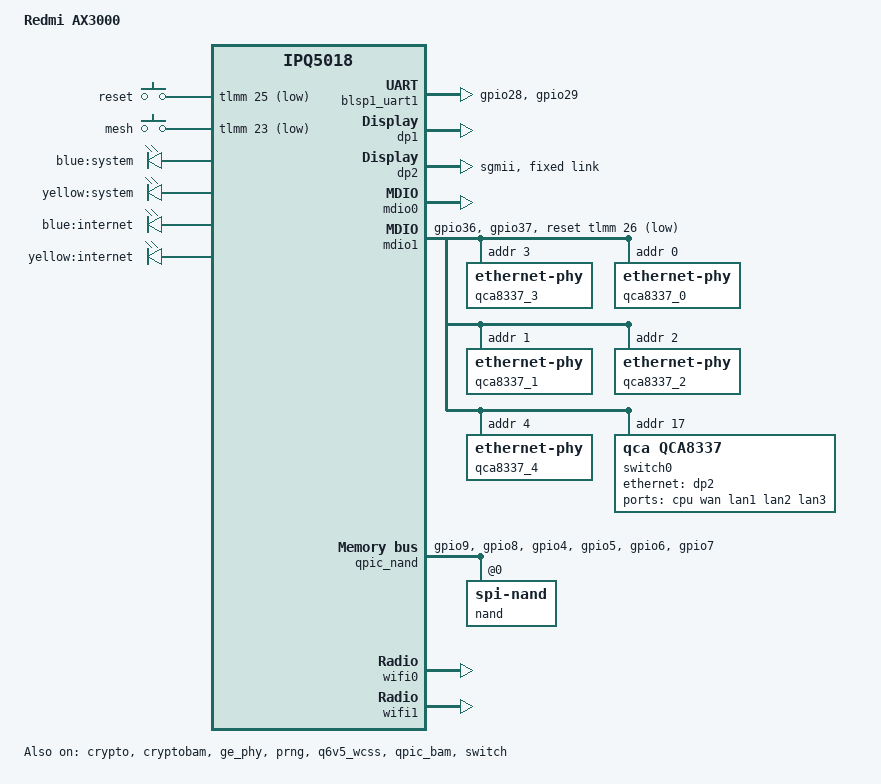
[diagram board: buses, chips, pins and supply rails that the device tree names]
// SPDX-License-Identifier: (GPL-2.0+)

/dts-v1/;
#include "ipq5018.dtsi"
#include "ipq5018-ess.dtsi"
#include <dt-bindings/gpio/gpio.h>
#include <dt-bindings/input/input.h>

/ {
	#address-cells = <0x2>;
	#size-cells = <0x2>;
	model = "Redmi AX3000";
	compatible = "redmi,ax3000", "qcom,ipq5018";
	interrupt-parent = <&intc>;

	aliases {
		ethernet0 = &dp1;
		ethernet1 = &dp2;
		label-mac-device = &dp2;
		serial0 = &blsp1_uart1;
		led-boot = &led_system_blue;
		led-failsafe = &led_system_yellow;
		led-running = &led_system_blue;
		led-upgrade = &led_system_yellow;
	};

	chosen {
		stdout-path = "serial0:115200n8";
		bootargs-append = " root=/dev/ubiblock0_1 coherent_pool=2M";
	};

	keys {
		compatible = "gpio-keys";
		pinctrl-0 = <&button_pins>;
		pinctrl-names = "default";

		button_reset {
			label = "reset";
			gpios = <&tlmm 25 GPIO_ACTIVE_LOW>;
			linux,input-type = <EV_KEY>;
			linux,code = <KEY_RESTART>;
			debounce-interval = <60>;
		};

		button_mesh {
			label = "mesh";
			gpios = <&tlmm 23 GPIO_ACTIVE_LOW>;
			linux,input-type = <EV_KEY>;
			linux,code = <KEY_WPS_BUTTON>;
			debounce-interval = <60>;
		};
	};

	leds {
		compatible = "gpio-leds";
		pinctrl-0 = <&leds_pins>;
		pinctrl-names = "default";

		led_system_blue: led_system_blue {
			label = "blue:system";
			gpio = <&tlmm 19 GPIO_ACTIVE_HIGH>;
			default-state = "on";
		};

		led_system_yellow: led_system_yellow {
			label = "yellow:system";
			gpio = <&tlmm 17 GPIO_ACTIVE_HIGH>;
		};

		led_internet_blue: led_internet_blue {
			label = "blue:internet";
			gpio = <&tlmm 22 GPIO_ACTIVE_HIGH>;
		};

		led_internet_yellow: led_internet_yellow {
			label = "yellow:internet";
			gpio = <&tlmm 20 GPIO_ACTIVE_HIGH>;
		};
	};

	reserved-memory {
		tz_appps@4a400000 {
			no-map;
			reg = <0x0 0x4a400000 0x0 0x400000>;
		};

		q6_mem_regions: q6_mem_regions@4b000000 {
			no-map;
			reg = <0x0 0x4b000000 0x0 0x3000000>;
		};
	};
};

&sleep_clk {
	clock-frequency = <32000>;
};

&xo_board_clk {
	clock-frequency = <24000000>;
};

&blsp1_uart1 {
	pinctrl-0 = <&blsp0_uart_pins>;
	pinctrl-names = "default";
	status = "okay";
};

&crypto {
	status = "okay";
};

&cryptobam {
	status = "okay";
};

&dp1 {
	status = "okay";
};

&dp2 {
	phy-mode = "sgmii";
	status = "okay";

	fixed-link {
		speed = <1000>;
		full-duplex;
	};
};

&ge_phy {
	status = "okay";
};

&mdio0 {
	status = "okay";
    resets = <&gcc GCC_GEPHY_MDC_SW_ARES>;
    reset-names = "phy";
};

&mdio1 {
	pinctrl-0 = <&mdio1_pins>;
	pinctrl-names = "default";
	reset-gpios = <&tlmm 26 GPIO_ACTIVE_LOW>;
	status = "okay";

	// QCA8337 Phy3 -> WAN
	qca8337_3: ethernet-phy@3 {
		reg = <3>;
	};
	// QCA8337 Phy0 -> LAN1
	qca8337_0: ethernet-phy@0 {
		reg = <0>;
	};
	// QCA8337 Phy1 -> LAN2
	qca8337_1: ethernet-phy@1 {
		reg = <1>;
	};
	// QCA8337 Phy2 -> LAN3
	qca8337_2: ethernet-phy@2 {
		reg = <2>;
	};
    // QCA8337 Phy4 -> IPQ5018 GE Phy
	qca8337_4: ethernet-phy@4 {
		reg = <4>;
	};

	// QCA8337 switch
	switch0: ethernet-switch@17 {
		compatible = "qca,qca8337";
		reg = <17>;
		#address-cells = <1>;
		#size-cells = <0>;
		switch_cpu_bmp = <0x60>;  // CPU port bitmap: 5 6
		switch_lan_bmp = <0x0e>;  // LAN port bitmap: 1 2 3
		switch_wan_bmp = <0x10>;  // WAN port bitmap: 4

		ports {
			#address-cells = <1>;
			#size-cells = <0>;

			switch0cpu: port@0 {
				reg = <0>;
				label = "cpu";
				phy-mode = "sgmii";
				ethernet = <&dp2>;
				qca,sgmii-enable-pll;
				fixed-link {
					speed = <1000>;
					full-duplex;
				};
			};
			// QCA8337 Phy3 -> WAN
			port@4 {
				reg = <4>;
				label = "wan";
				phy-handle = <&qca8337_3>;
				port_id = <4>;
				phy_address = <3>;
			};

			// QCA8337 Phy0 -> LAN1
			port@1 {
				reg = <1>;
				label = "lan1";
				phy-handle = <&qca8337_0>;
				port_id = <1>;
				phy_address = <0>;
			};
			// QCA8337 Phy1 -> LAN2
			port@2 {
				reg = <2>;
				label = "lan2";
				phy-handle = <&qca8337_1>;
				port_id = <2>;
				phy_address = <1>;
			};
			// QCA8337 Phy2 -> LAN3
			port@3 {
				reg = <3>;
				label = "lan3";
				phy-handle = <&qca8337_2>;
				port_id = <3>;
				phy_address = <2>;
			};
		};
	};
};

&prng {
	status = "okay";
};

&q6v5_wcss {
	status = "okay";
	memory-region = <&q6_mem_regions>;
	firmware-name = "ath11k/IPQ5018/hw1.0/q6_fw.mdt",
					"ath11k/IPQ5018/hw1.0/m3_fw.mdt",
					"ath11k/qcn6122/hw1.0/m3_fw.mdt";

    qcom,bootargs_smem = <507>;
	boot-args =
			</*       type: */ 0x2 /* PCIE1 */
		     /*     length: */ 4
		     /*      PD id: */ 2
		     /* reset GPIO: */ 27
		     /*   reserved: */ 0 0>;

	// IPQ5018
	q6_wcss_pd1: pd-1 {
		firmware-name = "ath11k/IPQ5018/hw1.0/q6_fw.mdt";
        m3_firmware = "ath11k/IPQ5018/hw1.0/m3_fw.mdt";
		resets =
			<&gcc GCC_WCSSAON_RESET>,
			<&gcc GCC_WCSS_BCR>,
			<&gcc GCC_CE_BCR>;
		reset-names =
			"wcss_aon_reset",
			"wcss_reset",
			"ce_reset";
		clocks =
			<&gcc GCC_WCSS_AHB_S_CLK>,
			<&gcc GCC_WCSS_ACMT_CLK>,
			<&gcc GCC_WCSS_AXI_M_CLK>;
		clock-names =
			"gcc_wcss_ahb_s_clk",
			"gcc_wcss_acmt_clk",
			"gcc_wcss_axi_m_clk";

		interrupts-extended =
			<&wcss_smp2p_in 8 0>,
			<&wcss_smp2p_in 9 0>,
			<&wcss_smp2p_in 12 0>,
			<&wcss_smp2p_in 11 0>;
		interrupt-names =
			"fatal",
			"ready",
			"spawn-ack",
			"stop-ack";
		qcom,smem-states =
			<&wcss_smp2p_out 8>,
			<&wcss_smp2p_out 9>,
			<&wcss_smp2p_out 10>;
		qcom,smem-state-names =
			"shutdown",
			"stop",
			"spawn";
        reg = <0x4ab000 0x20>;
		reg-names = "rmb";
	};

	// QCN6102 5G
	q6_wcss_pd2: pd-2 {
		firmware-name = "ath11k/IPQ5018/hw1.0/q6_fw.mdt";
        m3_firmware = "ath11k/qcn6122/hw1.0/m3_fw.mdt";
		interrupts-extended =
			<&wcss_smp2p_in 16 0>,
			<&wcss_smp2p_in 17 0>,
			<&wcss_smp2p_in 20 0>,
			<&wcss_smp2p_in 19 0>;
		interrupt-names =
			"fatal",
			"ready",
			"spawn-ack",
			"stop-ack";
		qcom,smem-states =
			<&wcss_smp2p_out 16>,
			<&wcss_smp2p_out 17>,
			<&wcss_smp2p_out 18>;
		qcom,smem-state-names =
			"shutdown",
			"stop",
			"spawn";
	};
};

&qpic_bam {
	status = "okay";
};

&qpic_nand {
	pinctrl-0 = <&qpic_pins>;
	pinctrl-names = "default";
	status = "okay";

	nand@0 {
		compatible = "spi-nand";
		#address-cells = <1>;
		#size-cells = <1>;
		reg = <0>;

		nand-ecc-engine = <&qpic_nand>;
		nand-ecc-strength = <4>;
		nand-ecc-step-size = <512>;
		nand-bus-width = <8>;

		partitions {
			compatible = "qcom,smem-part";
		};
	};
};

&switch {
	switch_mac_mode = <MAC_MODE_SGMII_CHANNEL0>;
	status = "okay";

	qcom,port_phyinfo {
		// MAC0 -> GE Phy -> QCA8337 Phy4
		port@0 {
			port_id = <1>;
			mdiobus = <&mdio0>;
			phy_address = <7>;
			phy_dac = <0x10 0x10>;
		};
		// MAC1 ---SGMII---> QCA8337 SerDes
		port@1 {
			port_id = <2>;
			forced-speed = <1000>;
			forced-duplex = <1>;
		};
	};
};

&tlmm {
	blsp0_uart_pins: uart_pins {
		blsp0_uart_rx_tx {
			pins = "gpio28", "gpio29";
			function = "blsp0_uart1";
            drive-strength = <8>;
			bias-disable;
		};
	};

	button_pins: button_pins {
		button_reset {
			pins = "gpio25";
			function = "gpio";
			drive-strength = <8>;
			bias-pull-up;
		};

		button_mesh {
			pins = "gpio23";
			function = "gpio";
			drive-strength = <8>;
			bias-pull-up;
		};
	};

	leds_pins: leds_pins {
		led_system_blue {
			pins = "gpio19";
			function = "gpio";
			drive-strength = <8>;
			bias-pull-down;
		};

		led_system_yellow {
			pins = "gpio17";
			function = "gpio";
			drive-strength = <8>;
			bias-pull-down;
		};

		led_internet_blue {
			pins = "gpio22";
			function = "gpio";
			drive-strength = <8>;
			bias-pull-down;
		};

		led_internet_yellow {
			pins = "gpio20";
			function = "gpio";
			drive-strength = <8>;
			bias-pull-down;
		};
	};

	mdio1_pins: mdio-state {
		mdc-pins {
			pins = "gpio36";
			function = "mdc";
			drive-strength = <8>;
			bias-pull-up;
		};
		mdio-pins {
			pins = "gpio37";
			function = "mdio";
			drive-strength = <8>;
			bias-pull-up;
		};
	};

	qpic_pins: qpic-state {
		clock-pins {
			pins = "gpio9";
			function = "qspi_clk";
			drive-strength = <8>;
			bias-disable;
		};
		cs-pins {
			pins = "gpio8";
			function = "qspi_cs";
			drive-strength = <8>;
			bias-disable;
		};
		data-pins {
			pins = "gpio4", "gpio5", "gpio6", "gpio7";
			function = "qspi_data";
			drive-strength = <8>;
			bias-disable;
		};
	};
};

&wifi0 {
    qcom,multipd_arch;
	qcom,rproc = <&q6_wcss_pd1>;
	qcom,userpd-subsys-name = "q6v5_wcss_userpd1";
	qcom,ath11k-fw-memory-mode = <2>;
	qcom,bdf-addr = <0x4c400000>;
	status = "okay";
};

&wifi1 {
    qcom,multipd_arch;
	qcom,rproc = <&q6_wcss_pd2>;
	qcom,userpd-subsys-name = "q6v5_wcss_userpd2";
	qcom,ath11k-fw-memory-mode = <2>;
	qcom,bdf-addr = <0x4d100000>;
	qcom,m3-dump-addr = <0x4df00000>;
	status = "okay";
};

